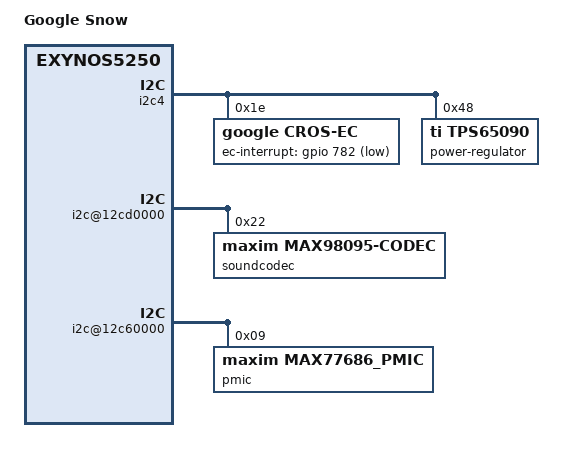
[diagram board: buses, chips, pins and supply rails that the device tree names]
/*
 * SAMSUNG Snow board device tree source
 *
 * Copyright (c) 2012 Samsung Electronics Co., Ltd.
 *		http://www.samsung.com
 *
 * This program is free software; you can redistribute it and/or modify
 * it under the terms of the GNU General Public License version 2 as
 * published by the Free Software Foundation.
*/

/dts-v1/;
/include/ "exynos5250.dtsi"

/ {
	model = "Google Snow";
	compatible = "google,snow", "samsung,exynos5250";

	aliases {
		i2c0 = "/i2c@12c60000";
		i2c1 = "/i2c@12c70000";
		i2c2 = "/i2c@12c80000";
		i2c3 = "/i2c@12c90000";
		i2c4 = "/i2c@12ca0000";
		i2c5 = "/i2c@12cb0000";
		i2c6 = "/i2c@12cc0000";
		i2c7 = "/i2c@12cd0000";
		spi0 = "/spi@12d20000";
		spi1 = "/spi@12d30000";
		spi2 = "/spi@12d40000";
		spi3 = "/spi@131a0000";
		spi4 = "/spi@131b0000";
		mmc0 = "/mmc@12200000";
		mmc1 = "/mmc@12210000";
		mmc2 = "/mmc@12220000";
		mmc3 = "/mmc@12230000";
		serial0 = "/serial@12C30000";
		console = "/serial@12C30000";
		i2s = "/sound@3830000";
	};

	i2c4: i2c@12ca0000 {
		cros-ec@1e {
			reg = <0x1e>;
			compatible = "google,cros-ec";
			i2c-max-frequency = <100000>;
			ec-interrupt = <&gpio 782 1>;
		};

		power-regulator@48 {
			compatible = "ti,tps65090";
			reg = <0x48>;
		};
	};

	spi@131b0000 {
		spi-max-frequency = <1000000>;
		spi-deactivate-delay = <100>;
		cros-ec@0 {
			reg = <0>;
			compatible = "google,cros-ec";
			spi-max-frequency = <5000000>;
			ec-interrupt = <&gpio 782 1>;
			optimise-flash-write;
			status = "disabled";
		};
	};

	sound@3830000 {
		samsung,codec-type = "max98095";
		codec-enable-gpio = <&gpio 0xb7 0>;
	};

	sound@12d60000 {
		status = "disabled";
	};

	i2c@12cd0000 {
		soundcodec@22 {
			reg = <0x22>;
			compatible = "maxim,max98095-codec";
		};
	};

	i2c@12c60000 {
		pmic@9 {
			reg = <0x9>;
			compatible = "maxim,max77686_pmic";
		};
	};

	mmc@12200000 {
		samsung,bus-width = <8>;
		samsung,timing = <1 3 3>;
		samsung,removable = <0>;
	};

	mmc@12210000 {
		status = "disabled";
	};

	mmc@12220000 {
		samsung,bus-width = <4>;
		samsung,timing = <1 2 3>;
		samsung,removable = <1>;
	};

	mmc@12230000 {
		status = "disabled";
	};

	ehci@12110000 {
		samsung,vbus-gpio = <&gpio 0xb1 0>; /* X11 */
	};

	xhci@12000000 {
		samsung,vbus-gpio = <&gpio 0xbf 0>; /* X27 */
	};

	tmu@10060000 {
		samsung,min-temp	= <25>;
		samsung,max-temp	= <125>;
		samsung,start-warning	= <95>;
		samsung,start-tripping	= <105>;
		samsung,hw-tripping	= <110>;
		samsung,efuse-min-value	= <40>;
		samsung,efuse-value	= <55>;
		samsung,efuse-max-value	= <100>;
		samsung,slope		= <274761730>;
		samsung,dc-value	= <25>;
	};

	cros-ec-keyb {
		compatible = "google,cros-ec-keyb";
		google,key-rows = <8>;
		google,key-columns = <13>;
		google,repeat-delay-ms = <240>;
		google,repeat-rate-ms = <30>;
		google,ghost-filter;
		/*
		 * Keymap entries take the form of 0xRRCCKKKK where
		 * RR=Row CC=Column KKKK=Key Code
		 * The values below are for a US keyboard layout and
		 * are taken from the Linux driver. Note that the
		 * 102ND key is not used for US keyboards.
		 */
		linux,keymap = <
			/* CAPSLCK F1         B          F10     */
			0x0001003a 0x0002003b 0x00030030 0x00040044
			/* N       =          R_ALT      ESC     */
			0x00060031 0x0008000d 0x000a0064 0x01010001
			/* F4      G          F7         H       */
			0x0102003e 0x01030022 0x01040041 0x01060023
			/* '       F9         BKSPACE    L_CTRL  */
			0x01080028 0x01090043 0x010b000e 0x0200001d
			/* TAB     F3         T          F6      */
			0x0201000f 0x0202003d 0x02030014 0x02040040
			/* ]       Y          102ND      [       */
			0x0205001b 0x02060015 0x02070056 0x0208001a
			/* F8      GRAVE      F2         5       */
			0x02090042 0x03010029 0x0302003c 0x03030006
			/* F5      6          -          \       */
			0x0304003f 0x03060007 0x0308000c 0x030b002b
			/* R_CTRL  A          D          F       */
			0x04000061 0x0401001e 0x04020020 0x04030021
			/* S       K          J          ;       */
			0x0404001f 0x04050025 0x04060024 0x04080027
			/* L       ENTER      Z          C       */
			0x04090026 0x040b001c 0x0501002c 0x0502002e
			/* V       X          ,          M       */
			0x0503002f 0x0504002d 0x05050033 0x05060032
			/* L_SHIFT /          .          SPACE   */
			0x0507002a 0x05080035 0x05090034 0x050B0039
			/* 1       3          4          2       */
			0x06010002 0x06020004 0x06030005 0x06040003
			/* 8       7          0          9       */
			0x06050009 0x06060008 0x0608000b 0x0609000a
			/* L_ALT   DOWN       RIGHT      Q       */
			0x060a0038 0x060b006c 0x060c006a 0x07010010
			/* E       R          W          I       */
			0x07020012 0x07030013 0x07040011 0x07050017
			/* U       R_SHIFT    P          O       */
			0x07060016 0x07070036 0x07080019 0x07090018
			/* UP      LEFT    */
			0x070b0067 0x070c0069>;
	};
};
